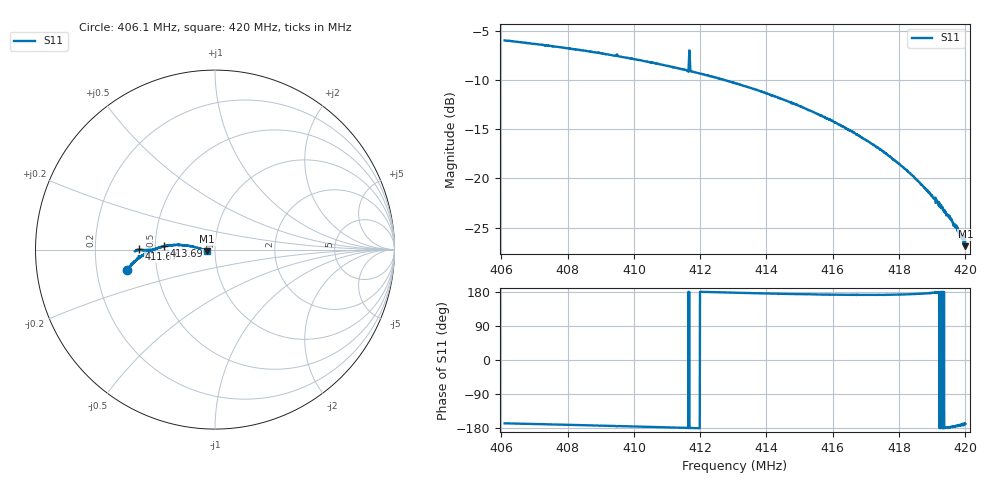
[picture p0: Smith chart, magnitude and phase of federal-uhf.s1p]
! Calibrated averaged scanner-service zoom
# Hz S RI R 50
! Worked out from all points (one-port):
!   2001 points, 406.1 MHz to 420 MHz, reference 50 ohm
!   lowest |S11| = -26.9 dB at 420 MHz (marker M1), VSWR 1.09, Z = 45.7 - j0.806 ohm
!   |S11| at or under -10 dB: 412.74 MHz to end of sweep
!   S11 on the Smith chart (normalised r, x): 406.1 MHz: 0.33, -0.10; 411.67 MHz: 0.41, +0.00; 413.69 MHz: 0.56, +0.02; 420 MHz: 0.91, -0.02
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4.061e8  -0.4901 -0.1121
4.078375e8  -0.4569 -0.0755
4.09575e8  -0.4145 -0.0398
4.113125e8  -0.3633 -0.0103
4.115766e8  -0.3549 -0.00553
4.115905e8  -0.3555 -0.00654
4.116183e8  -0.3547 -0.00557
4.11667e8  -0.423 0.0019
4.117295e8  -0.3502 -0.00366
4.117642e8  -0.3495 -0.00368
4.117782e8  -0.3487 -0.00297
4.1305e8  -0.3048 0.0128
4.136894e8  -0.2816 0.0186
4.147875e8  -0.24 0.0248
4.159273e8  -0.1961 0.0263
4.16525e8  -0.1732 0.0239
4.170602e8  -0.1533 0.0219
4.174146e8  -0.1401 0.0194
4.179428e8  -0.1195 0.0155
4.182625e8  -0.1077 0.0124
4.188185e8  -0.0875 0.00678
4.192633e8  -0.0733 0.00173
4.194092e8  -0.067 -0.000892
4.195482e8  -0.0626 -0.00342
4.19729e8  -0.0572 -0.00716
4.198471e8  -0.0513 -0.00642
4.199236e8  -0.0503 -0.00985
4.2e8  -0.0444 -0.00879
